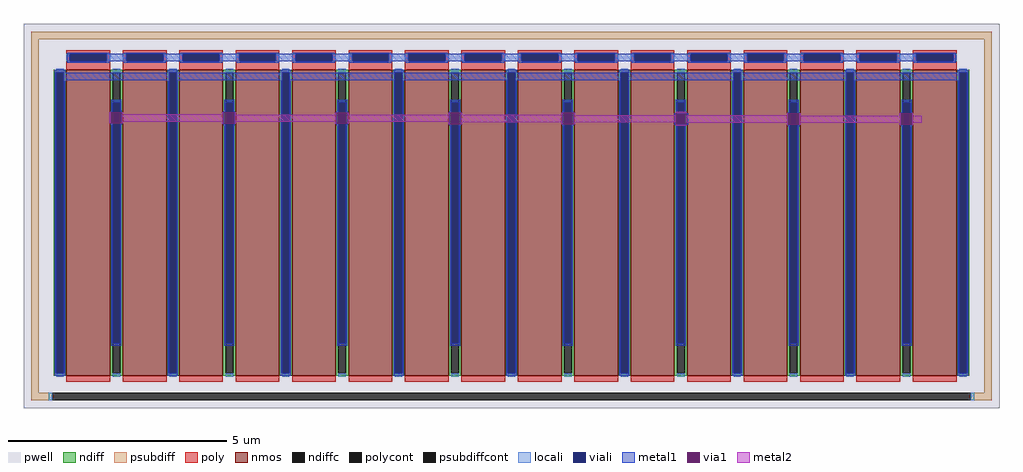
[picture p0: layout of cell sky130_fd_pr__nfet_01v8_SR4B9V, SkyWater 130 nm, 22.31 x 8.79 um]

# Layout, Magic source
magic
tech sky130A
magscale 1 2
<< pwell >>
rect -2231 -879 2231 879
<< nmos >>
rect -2035 -731 -1835 669
rect -1777 -731 -1577 669
rect -1519 -731 -1319 669
rect -1261 -731 -1061 669
rect -1003 -731 -803 669
rect -745 -731 -545 669
rect -487 -731 -287 669
rect -229 -731 -29 669
rect 29 -731 229 669
rect 287 -731 487 669
rect 545 -731 745 669
rect 803 -731 1003 669
rect 1061 -731 1261 669
rect 1319 -731 1519 669
rect 1577 -731 1777 669
rect 1835 -731 2035 669
<< ndiff >>
rect -2093 657 -2035 669
rect -2093 -719 -2081 657
rect -2047 -719 -2035 657
rect -2093 -731 -2035 -719
rect -1835 657 -1777 669
rect -1835 -719 -1823 657
rect -1789 -719 -1777 657
rect -1835 -731 -1777 -719
rect -1577 657 -1519 669
rect -1577 -719 -1565 657
rect -1531 -719 -1519 657
rect -1577 -731 -1519 -719
rect -1319 657 -1261 669
rect -1319 -719 -1307 657
rect -1273 -719 -1261 657
rect -1319 -731 -1261 -719
rect -1061 657 -1003 669
rect -1061 -719 -1049 657
rect -1015 -719 -1003 657
rect -1061 -731 -1003 -719
rect -803 657 -745 669
rect -803 -719 -791 657
rect -757 -719 -745 657
rect -803 -731 -745 -719
rect -545 657 -487 669
rect -545 -719 -533 657
rect -499 -719 -487 657
rect -545 -731 -487 -719
rect -287 657 -229 669
rect -287 -719 -275 657
rect -241 -719 -229 657
rect -287 -731 -229 -719
rect -29 657 29 669
rect -29 -719 -17 657
rect 17 -719 29 657
rect -29 -731 29 -719
rect 229 657 287 669
rect 229 -719 241 657
rect 275 -719 287 657
rect 229 -731 287 -719
rect 487 657 545 669
rect 487 -719 499 657
rect 533 -719 545 657
rect 487 -731 545 -719
rect 745 657 803 669
rect 745 -719 757 657
rect 791 -719 803 657
rect 745 -731 803 -719
rect 1003 657 1061 669
rect 1003 -719 1015 657
rect 1049 -719 1061 657
rect 1003 -731 1061 -719
rect 1261 657 1319 669
rect 1261 -719 1273 657
rect 1307 -719 1319 657
rect 1261 -731 1319 -719
rect 1519 657 1577 669
rect 1519 -719 1531 657
rect 1565 -719 1577 657
rect 1519 -731 1577 -719
rect 1777 657 1835 669
rect 1777 -719 1789 657
rect 1823 -719 1835 657
rect 1777 -731 1835 -719
rect 2035 657 2093 669
rect 2035 -719 2047 657
rect 2081 -719 2093 657
rect 2035 -731 2093 -719
<< ndiffc >>
rect -2081 -719 -2047 657
rect -1823 -719 -1789 657
rect -1565 -719 -1531 657
rect -1307 -719 -1273 657
rect -1049 -719 -1015 657
rect -791 -719 -757 657
rect -533 -719 -499 657
rect -275 -719 -241 657
rect -17 -719 17 657
rect 241 -719 275 657
rect 499 -719 533 657
rect 757 -719 791 657
rect 1015 -719 1049 657
rect 1273 -719 1307 657
rect 1531 -719 1565 657
rect 1789 -719 1823 657
rect 2047 -719 2081 657
<< psubdiff >>
rect -2195 809 2195 843
rect -2195 -809 -2161 809
rect 2161 -809 2195 809
rect -2195 -843 -2099 -809
rect 2099 -843 2195 -809
<< psubdiffcont >>
rect -2099 -843 2099 -809
<< poly >>
rect -2035 741 -1835 757
rect -2035 707 -2019 741
rect -1851 707 -1835 741
rect -2035 669 -1835 707
rect -1777 741 -1577 757
rect -1777 707 -1761 741
rect -1593 707 -1577 741
rect -1777 669 -1577 707
rect -1519 741 -1319 757
rect -1519 707 -1503 741
rect -1335 707 -1319 741
rect -1519 669 -1319 707
rect -1261 741 -1061 757
rect -1261 707 -1245 741
rect -1077 707 -1061 741
rect -1261 669 -1061 707
rect -1003 741 -803 757
rect -1003 707 -987 741
rect -819 707 -803 741
rect -1003 669 -803 707
rect -745 741 -545 757
rect -745 707 -729 741
rect -561 707 -545 741
rect -745 669 -545 707
rect -487 741 -287 757
rect -487 707 -471 741
rect -303 707 -287 741
rect -487 669 -287 707
rect -229 741 -29 757
rect -229 707 -213 741
rect -45 707 -29 741
rect -229 669 -29 707
rect 29 741 229 757
rect 29 707 45 741
rect 213 707 229 741
rect 29 669 229 707
rect 287 741 487 757
rect 287 707 303 741
rect 471 707 487 741
rect 287 669 487 707
rect 545 741 745 757
rect 545 707 561 741
rect 729 707 745 741
rect 545 669 745 707
rect 803 741 1003 757
rect 803 707 819 741
rect 987 707 1003 741
rect 803 669 1003 707
rect 1061 741 1261 757
rect 1061 707 1077 741
rect 1245 707 1261 741
rect 1061 669 1261 707
rect 1319 741 1519 757
rect 1319 707 1335 741
rect 1503 707 1519 741
rect 1319 669 1519 707
rect 1577 741 1777 757
rect 1577 707 1593 741
rect 1761 707 1777 741
rect 1577 669 1777 707
rect 1835 741 2035 757
rect 1835 707 1851 741
rect 2019 707 2035 741
rect 1835 669 2035 707
rect -2035 -757 -1835 -731
rect -1777 -757 -1577 -731
rect -1519 -757 -1319 -731
rect -1261 -757 -1061 -731
rect -1003 -757 -803 -731
rect -745 -757 -545 -731
rect -487 -757 -287 -731
rect -229 -757 -29 -731
rect 29 -757 229 -731
rect 287 -757 487 -731
rect 545 -757 745 -731
rect 803 -757 1003 -731
rect 1061 -757 1261 -731
rect 1319 -757 1519 -731
rect 1577 -757 1777 -731
rect 1835 -757 2035 -731
<< polycont >>
rect -2019 707 -1851 741
rect -1761 707 -1593 741
rect -1503 707 -1335 741
rect -1245 707 -1077 741
rect -987 707 -819 741
rect -729 707 -561 741
rect -471 707 -303 741
rect -213 707 -45 741
rect 45 707 213 741
rect 303 707 471 741
rect 561 707 729 741
rect 819 707 987 741
rect 1077 707 1245 741
rect 1335 707 1503 741
rect 1593 707 1761 741
rect 1851 707 2019 741
<< locali >>
rect -2035 707 -2019 741
rect -1851 707 -1835 741
rect -1777 707 -1761 741
rect -1593 707 -1577 741
rect -1519 707 -1503 741
rect -1335 707 -1319 741
rect -1261 707 -1245 741
rect -1077 707 -1061 741
rect -1003 707 -987 741
rect -819 707 -803 741
rect -745 707 -729 741
rect -561 707 -545 741
rect -487 707 -471 741
rect -303 707 -287 741
rect -229 707 -213 741
rect -45 707 -29 741
rect 29 707 45 741
rect 213 707 229 741
rect 287 707 303 741
rect 471 707 487 741
rect 545 707 561 741
rect 729 707 745 741
rect 803 707 819 741
rect 987 707 1003 741
rect 1061 707 1077 741
rect 1245 707 1261 741
rect 1319 707 1335 741
rect 1503 707 1519 741
rect 1577 707 1593 741
rect 1761 707 1777 741
rect 1835 707 1851 741
rect 2019 707 2035 741
rect -2081 657 -2047 673
rect -2081 -735 -2047 -719
rect -1823 657 -1789 673
rect -1823 -735 -1789 -719
rect -1565 657 -1531 673
rect -1565 -735 -1531 -719
rect -1307 657 -1273 673
rect -1307 -735 -1273 -719
rect -1049 657 -1015 673
rect -1049 -735 -1015 -719
rect -791 657 -757 673
rect -791 -735 -757 -719
rect -533 657 -499 673
rect -533 -735 -499 -719
rect -275 657 -241 673
rect -275 -735 -241 -719
rect -17 657 17 673
rect -17 -735 17 -719
rect 241 657 275 673
rect 241 -735 275 -719
rect 499 657 533 673
rect 499 -735 533 -719
rect 757 657 791 673
rect 757 -735 791 -719
rect 1015 657 1049 673
rect 1015 -735 1049 -719
rect 1273 657 1307 673
rect 1273 -735 1307 -719
rect 1531 657 1565 673
rect 1531 -735 1565 -719
rect 1789 657 1823 673
rect 1789 -735 1823 -719
rect 2047 657 2081 673
rect 2047 -735 2081 -719
rect -2115 -843 -2099 -809
rect 2099 -843 2115 -809
<< viali >>
rect -2019 707 -1851 741
rect -1761 707 -1593 741
rect -1503 707 -1335 741
rect -1245 707 -1077 741
rect -987 707 -819 741
rect -729 707 -561 741
rect -471 707 -303 741
rect -213 707 -45 741
rect 45 707 213 741
rect 303 707 471 741
rect 561 707 729 741
rect 819 707 987 741
rect 1077 707 1245 741
rect 1335 707 1503 741
rect 1593 707 1761 741
rect 1851 707 2019 741
rect -2081 -719 -2047 657
rect -1823 -581 -1789 519
rect -1565 -719 -1531 657
rect -1307 -581 -1273 519
rect -1049 -719 -1015 657
rect -791 -581 -757 519
rect -533 -719 -499 657
rect -275 -581 -241 519
rect -17 -719 17 657
rect 241 -581 275 519
rect 499 -719 533 657
rect 757 -581 791 519
rect 1015 -719 1049 657
rect 1273 -581 1307 519
rect 1531 -719 1565 657
rect 1789 -581 1823 519
rect 2047 -719 2081 657
<< metal1 >>
rect -2031 741 -1839 747
rect -1773 741 -1581 747
rect -1515 741 -1323 747
rect -1257 741 -1065 747
rect -999 741 -807 747
rect -741 741 -549 747
rect -483 741 -291 747
rect -225 741 -33 747
rect 33 741 225 747
rect 291 741 483 747
rect 549 741 741 747
rect 807 741 999 747
rect 1065 741 1257 747
rect 1323 741 1515 747
rect 1581 741 1773 747
rect 1839 741 2031 747
rect -2031 707 -2019 741
rect -1851 707 -1761 741
rect -1593 707 -1503 741
rect -1335 707 -1245 741
rect -1077 707 -987 741
rect -819 707 -729 741
rect -561 707 -471 741
rect -303 707 -213 741
rect -45 707 45 741
rect 213 707 303 741
rect 471 707 561 741
rect 729 707 819 741
rect 987 707 1077 741
rect 1245 707 1335 741
rect 1503 707 1593 741
rect 1761 707 1851 741
rect 2019 707 2031 741
rect -2031 701 -1839 707
rect -1773 701 -1581 707
rect -1515 701 -1323 707
rect -1257 701 -1065 707
rect -999 701 -807 707
rect -741 701 -549 707
rect -483 701 -291 707
rect -225 701 -33 707
rect 33 701 225 707
rect 291 701 483 707
rect 549 701 741 707
rect 807 701 999 707
rect 1065 701 1257 707
rect 1323 701 1515 707
rect 1581 701 1773 707
rect 1839 701 2031 707
rect -2087 657 -2041 669
rect -2087 -719 -2081 657
rect -2047 654 -2041 657
rect -1571 657 -1525 669
rect -1571 654 -1565 657
rect -2047 620 -1565 654
rect -2047 -719 -2041 620
rect -1829 519 -1783 531
rect -1829 481 -1823 519
rect -1833 475 -1823 481
rect -1789 481 -1783 519
rect -1789 475 -1781 481
rect -1833 417 -1823 423
rect -1829 -581 -1823 417
rect -1789 417 -1781 423
rect -1789 -581 -1783 417
rect -1829 -593 -1783 -581
rect -2087 -731 -2041 -719
rect -1571 -719 -1565 620
rect -1531 654 -1525 657
rect -1055 657 -1009 669
rect -1055 654 -1049 657
rect -1531 620 -1049 654
rect -1531 -719 -1525 620
rect -1313 519 -1267 531
rect -1313 480 -1307 519
rect -1318 474 -1307 480
rect -1273 480 -1267 519
rect -1273 474 -1266 480
rect -1318 416 -1307 422
rect -1313 -581 -1307 416
rect -1273 416 -1266 422
rect -1273 -581 -1267 416
rect -1313 -593 -1267 -581
rect -1571 -731 -1525 -719
rect -1055 -719 -1049 620
rect -1015 654 -1009 657
rect -539 657 -493 669
rect -539 654 -533 657
rect -1015 620 -533 654
rect -1015 -719 -1009 620
rect -797 519 -751 531
rect -797 479 -791 519
rect -801 473 -791 479
rect -757 479 -751 519
rect -757 473 -749 479
rect -801 415 -791 421
rect -797 -581 -791 415
rect -757 415 -749 421
rect -757 -581 -751 415
rect -797 -593 -751 -581
rect -1055 -731 -1009 -719
rect -539 -719 -533 620
rect -499 654 -493 657
rect -23 657 23 669
rect -23 654 -17 657
rect -499 620 -17 654
rect -499 -719 -493 620
rect -281 519 -235 531
rect -281 478 -275 519
rect -284 472 -275 478
rect -241 478 -235 519
rect -241 472 -232 478
rect -284 414 -275 420
rect -281 -581 -275 414
rect -241 414 -232 420
rect -241 -581 -235 414
rect -281 -593 -235 -581
rect -539 -731 -493 -719
rect -23 -719 -17 620
rect 17 654 23 657
rect 493 657 539 669
rect 493 654 499 657
rect 17 620 499 654
rect 17 -719 23 620
rect 235 519 281 531
rect 235 477 241 519
rect 233 471 241 477
rect 275 477 281 519
rect 275 471 285 477
rect 233 413 241 419
rect 235 -581 241 413
rect 275 413 285 419
rect 275 -581 281 413
rect 235 -593 281 -581
rect -23 -731 23 -719
rect 493 -719 499 620
rect 533 654 539 657
rect 1009 657 1055 669
rect 1009 654 1015 657
rect 533 620 1015 654
rect 533 -719 539 620
rect 751 519 797 531
rect 751 470 757 519
rect 791 470 797 519
rect 744 418 750 470
rect 802 418 808 470
rect 751 -581 757 418
rect 791 -581 797 418
rect 751 -593 797 -581
rect 493 -731 539 -719
rect 1009 -719 1015 620
rect 1049 654 1055 657
rect 1525 657 1571 669
rect 1525 654 1531 657
rect 1049 620 1531 654
rect 1049 -719 1055 620
rect 1267 519 1313 531
rect 1267 475 1273 519
rect 1264 469 1273 475
rect 1307 475 1313 519
rect 1307 469 1316 475
rect 1264 411 1273 417
rect 1267 -581 1273 411
rect 1307 411 1316 417
rect 1307 -581 1313 411
rect 1267 -593 1313 -581
rect 1009 -731 1055 -719
rect 1525 -719 1531 620
rect 1565 654 1571 657
rect 2041 657 2087 669
rect 2041 654 2047 657
rect 1565 620 2047 654
rect 1565 -719 1571 620
rect 1783 519 1829 531
rect 1783 475 1789 519
rect 1779 469 1789 475
rect 1823 475 1829 519
rect 1823 469 1831 475
rect 1779 411 1789 417
rect 1783 -581 1789 411
rect 1823 411 1831 417
rect 1823 -581 1829 411
rect 1783 -593 1829 -581
rect 1525 -731 1571 -719
rect 2041 -719 2047 620
rect 2081 -719 2087 657
rect 2041 -731 2087 -719
<< via1 >>
rect -1833 423 -1823 475
rect -1823 423 -1789 475
rect -1789 423 -1781 475
rect -1318 422 -1307 474
rect -1307 422 -1273 474
rect -1273 422 -1266 474
rect -801 421 -791 473
rect -791 421 -757 473
rect -757 421 -749 473
rect -284 420 -275 472
rect -275 420 -241 472
rect -241 420 -232 472
rect 233 419 241 471
rect 241 419 275 471
rect 275 419 285 471
rect 750 418 757 470
rect 757 418 791 470
rect 791 418 802 470
rect 1264 417 1273 469
rect 1273 417 1307 469
rect 1307 417 1316 469
rect 1779 417 1789 469
rect 1789 417 1823 469
rect 1823 417 1831 469
<< metal2 >>
rect -1839 423 -1833 475
rect -1781 465 -1775 475
rect -1324 465 -1318 474
rect -1781 432 -1318 465
rect -1781 423 -1775 432
rect -1324 422 -1318 432
rect -1266 464 -1260 474
rect -807 464 -801 473
rect -1266 431 -801 464
rect -1266 422 -1260 431
rect -807 421 -801 431
rect -749 463 -743 473
rect -290 463 -284 472
rect -749 430 -284 463
rect -749 421 -743 430
rect -290 420 -284 430
rect -232 462 -226 472
rect 227 462 233 471
rect -232 429 233 462
rect -232 420 -226 429
rect 227 419 233 429
rect 285 461 291 471
rect 750 470 802 476
rect 285 428 750 461
rect 285 419 291 428
rect 1258 460 1264 469
rect 802 427 1264 460
rect 750 412 802 418
rect 1258 417 1264 427
rect 1316 459 1322 469
rect 1773 459 1779 469
rect 1316 427 1779 459
rect 1316 417 1322 427
rect 1773 417 1779 427
rect 1831 459 1837 469
rect 1831 427 1876 459
rect 1831 417 1837 427
<< properties >>
string FIXED_BBOX -2178 -826 2178 826
string gencell sky130_fd_pr__nfet_01v8
string library sky130
string parameters w 7 l 1 m 1 nf 16 diffcov 100 polycov 100 guard 1 glc 0 grc 0 gtc 0 gbc 1 tbcov 100 rlcov 100 topc 1 botc 0 poverlap 0 doverlap 1 lmin 0.15 wmin 0.42 class mosfet compatible {sky130_fd_pr__nfet_01v8 sky130_fd_pr__nfet_01v8_lvt  sky130_fd_bs_flash__special_sonosfet_star  sky130_fd_pr__nfet_g5v0d10v5 sky130_fd_pr__nfet_05v0_nvt  sky130_fd_pr__nfet_03v3_nvt} full_metal 0 viasrc 80 viadrn 100 viagate 100 viagb 0 viagr 0 viagl 0 viagt 0 doports 1
<< end >>
